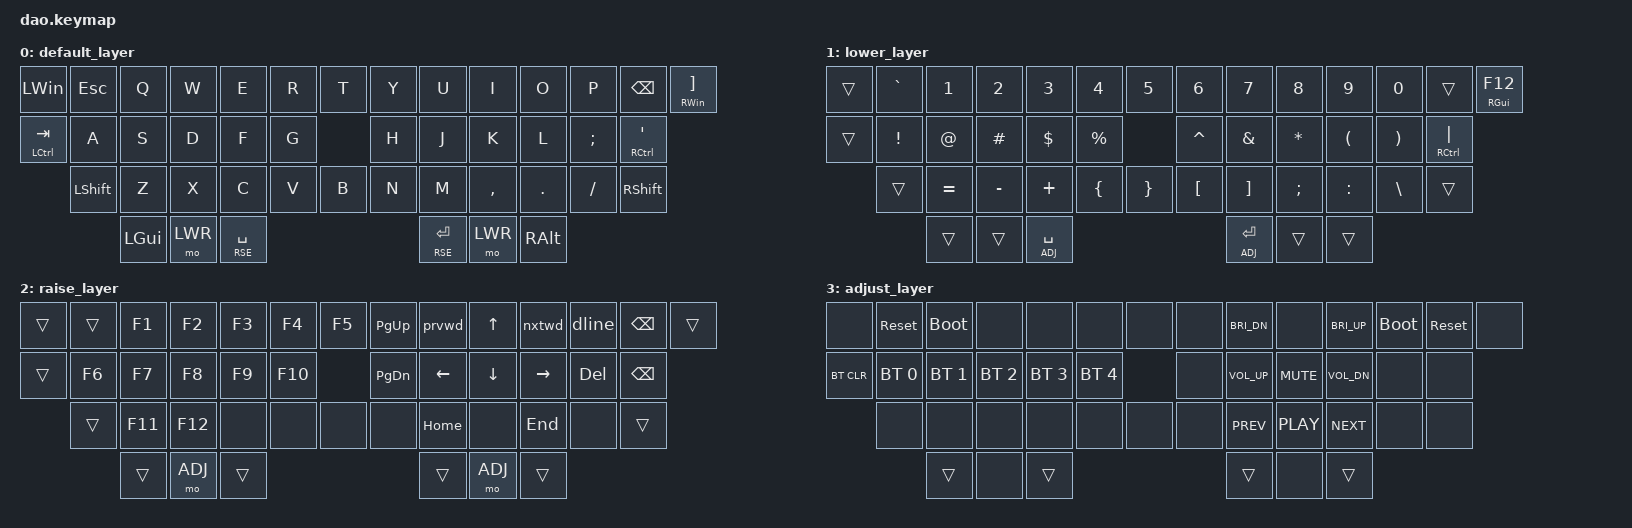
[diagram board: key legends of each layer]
/*
 * Copyright (c) 2021 Rafael Yumagulov
 *
 * SPDX-License-Identifier: MIT
 */

#include <behaviors.dtsi>
#include <dt-bindings/zmk/keys.h>
#include <dt-bindings/zmk/bt.h>

#define DEF 0
#define LWR 1
#define RSE 2
#define ADJ 3

&lt { quick_tap_ms = <200>; };
&mt { quick_tap_ms = <200>; };

/ {
        macros {
                prvwd: prvwd {
                    label = "ZM_prvwd";
                    compatible = "zmk,behavior-macro";
                    #binding-cells = <0>;
                    bindings
                        = <&macro_press &kp LCTRL>
                        , <&macro_tap &kp LEFT>
                        , <&macro_release &kp LCTRL>
                        ;
                };
                nxtwd: nxtwd {
                    label = "ZM_nxtwd";
                    compatible = "zmk,behavior-macro";
                    #binding-cells = <0>;
                    bindings
                        = <&macro_press &kp LCTRL>
                        , <&macro_tap &kp RIGHT>
                        , <&macro_release &kp LCTRL>
                        ;
                };
                dline: dline {
                    label = "ZM_dline";
                    compatible = "zmk,behavior-macro";
                    #binding-cells = <0>;
                    bindings
                        = <&macro_press &kp LCTRL>
                        , <&macro_tap &kp BSPC>
                        , <&macro_release &kp LCTRL>
                        ;
                };
            };
        keymap {
                compatible = "zmk,keymap";

                default_layer {
// -----------------------------------------------------------------------------------------
// |  GUI |   ~  |  Q  |  W  |  E  |  R  |  T  |   |  Y  |  U   |  I  |  O  |  P  |  [   | GUI/] |
//        | CTRL |  A  |  S  |  D  |  F  |  G  |   |  H  |  J   |  K  |  L  |  ;  |CTRL/'|
//        | LALT |  Z  |  X  |  C  |  V  |  B  |   |  N  |  M   |  ,  |  .  |  /  | RALT |
//                           | RSE | SPC | LWR |   | LWR | BKSP | RSE |
                        bindings = <
   &kp LWIN &kp ESC   &kp Q &kp W &kp E &kp R &kp T &kp Y         &kp U  &kp I     &kp O   &kp P    &kp BSPC &mt RWIN RBKT
      &mt LCTRL TAB   &kp A &kp S &kp D &kp F &kp G &kp H         &kp J  &kp K     &kp L   &kp SEMI &mt RCTRL SQT
            &kp LSHFT &kp Z &kp X &kp C &kp V &kp B &kp N         &kp M  &kp COMMA &kp DOT &kp FSLH &kp RSHFT
                         &kp LGUI &mo LWR &lt RSE SPACE &lt RSE ENTER &mo LWR &kp RALT
                        >;
                };
                lower_layer {
// -----------------------------------------------------------------------------------------
// |     |  _  |  F1 |  F2 |  F3 |  F4 |  F5 |   |  F6 |  F7 |  F8 |  F9 | F10 | F11 | F12 |
//       |  +  |  !  |  @  |  #  |  $  |  %  |   |  ^  |  &  |  *  |  (  |  )  |  -  |
//       |  =  |  1  |  2  |  3  |  4  |  5  |   |  6  |  7  |  8  |  9  |  0  |     |
//                    | GUI |     | SPC |   | ENT |     | ALT |
                        bindings = <
   &trans &kp GRAVE &kp N1    &kp N2    &kp N3   &kp N4   &kp N5           &kp N6    &kp N7   &kp N8   &kp N9    &kp N0   &trans &mt RGUI F12
          &trans    &kp EXCL  &kp AT    &kp HASH &kp DLLR &kp PRCNT        &kp CARET &kp AMPS &kp STAR &kp LPAR  &kp RPAR &mt RCTRL PIPE
          &trans    &kp EQUAL &kp MINUS &kp PLUS &kp LBRC &kp RBRC         &kp LBKT  &kp RBKT &kp SEMI &kp COLON &kp BSLH &trans
                                          &trans &trans &lt ADJ SPACE   &lt ADJ ENTER &trans &trans
                        >;
                };

                raise_layer {
// -----------------------------------------------------------------------------------------
// |     | NMLK |  /  |  7  |  8  |  9  |  -  |   | VOLU| HOME| PRSC| PGUP| SCLK| CLCK|     |
//       | CTRL |  *  |  4  |  5  |  6  |  +  |   | MUT | LEFT|  UP | RGHT| INS | APP |
//       |      |  0  |  1  |  2  |  3  |  .  |   | VOLD| END | DOWN| PGDN| PAUS|     |
//                          |     |     | ADJ |   | ADJ |     |     |
                        bindings = <
   &trans &trans      &kp F1  &kp F2  &kp F3 &kp F4 &kp F5        &kp PG_UP &prvwd   &kp UP   &nxtwd    &dline   &kp BSPC &trans
          &trans      &kp F6  &kp F7  &kp F8 &kp F9 &kp F10       &kp PG_DN &kp LEFT &kp DOWN &kp RIGHT &kp DEL  &kp BSPC
          &trans      &kp F11 &kp F12 &none  &none  &none         &none     &kp HOME &none    &kp END   &none    &trans
                                        &trans &mo ADJ &trans   &trans &mo ADJ &trans
                        >;
                };
                adjust_layer {
// -----------------------------------------------------------------------------------------
// | RST | BLDR |     |     |     |     |     |   |     |     |     |     |     | BLDR | RST |
//       | BTCLR| BT0 | BT1 | BT2 | BT3 | BT4 |   | BT4 | BT3 | BT2 | BT1 | BT0 | BTCLR|
//       |      |     |     |     |     |     |   |     |     |     |     |     |      |
//                          |     |     |     |   |     |     |     |
                        bindings = <
   &none  &sys_reset   &bootloader  &none        &none        &none        &none              &none        &kp C_BRI_DN &none           &kp C_BRI_UP &bootloader &sys_reset &none
          &bt BT_CLR   &bt BT_SEL 0 &bt BT_SEL 1 &bt BT_SEL 2 &bt BT_SEL 3 &bt BT_SEL 4       &none        &kp C_VOL_UP &kp C_MUTE      &kp C_VOL_DN &none       &none
          &none        &none        &none        &none        &none        &none              &none        &kp C_PREV   &kp C_PLAY      &kp C_NEXT   &none       &none
                                                                    &trans &none &trans   &trans &none &trans
                        >;
                };
        };
};
